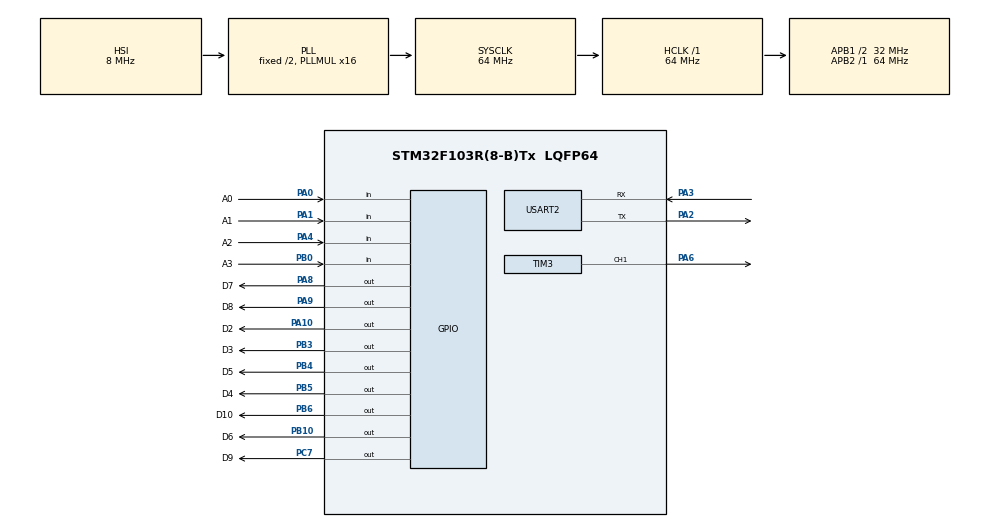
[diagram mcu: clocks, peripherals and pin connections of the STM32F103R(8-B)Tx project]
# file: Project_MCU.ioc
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Mcu.Family=STM32F1
Mcu.Name=STM32F103R(8-B)Tx
Mcu.Package=LQFP64
NVIC.PriorityGroup=NVIC_PRIORITYGROUP_4
NVIC.TIM2_IRQn=true\:0\:0\:false\:false\:true\:true\:true
NVIC.USART2_IRQn=true\:0\:0\:false\:false\:true\:true\:true
PA0-WKUP.GPIO_Label=A0
PA0-WKUP.GPIO_PuPd=GPIO_PULLUP
PA0-WKUP.Signal=GPIO_Input
PA1.GPIO_Label=A1
PA1.GPIO_PuPd=GPIO_PULLUP
PA1.Signal=GPIO_Input
PA10.GPIO_Label=D2
PA10.Signal=GPIO_Output
PA13.Mode=Serial_Wire
PA13.Signal=SYS_JTMS-SWDIO
PA14.Mode=Serial_Wire
PA14.Signal=SYS_JTCK-SWCLK
PA2.Mode=Asynchronous
PA2.Signal=USART2_TX
PA3.Mode=Asynchronous
PA3.Signal=USART2_RX
PA4.GPIO_Label=A2
PA4.GPIO_PuPd=GPIO_PULLUP
PA4.Signal=GPIO_Input
PA6.Signal=S_TIM3_CH1
PA8.GPIO_Label=D7
PA8.Signal=GPIO_Output
PA9.GPIO_Label=D8
PA9.Signal=GPIO_Output
PB0.GPIO_Label=A3
PB0.GPIO_PuPd=GPIO_PULLUP
PB0.Signal=GPIO_Input
PB10.GPIO_Label=D6
PB10.Signal=GPIO_Output
PB3.GPIO_Label=D3
PB3.Signal=GPIO_Output
PB4.GPIO_Label=D5
PB4.Signal=GPIO_Output
PB5.GPIO_Label=D4
PB5.Signal=GPIO_Output
PB6.GPIO_Label=D10
PB6.Signal=GPIO_Output
PC7.GPIO_Label=D9
PC7.Signal=GPIO_Output
ProjectManager.HeapSize=0x200
ProjectManager.StackSize=0x400
ProjectManager.TargetToolchain=STM32CubeIDE
RCC.AHBFreq_Value=64000000
RCC.APB1CLKDivider=RCC_HCLK_DIV2
RCC.APB1Freq_Value=32000000
RCC.APB1TimFreq_Value=64000000
RCC.APB2Freq_Value=64000000
RCC.APB2TimFreq_Value=64000000
RCC.HCLKFreq_Value=64000000
RCC.PLLMUL=RCC_PLL_MUL16
RCC.SYSCLKFreq_VALUE=64000000
RCC.SYSCLKSource=RCC_SYSCLKSOURCE_PLLCLK
RCC.USBFreq_Value=64000000
SH.S_TIM3_CH1.0=TIM3_CH1,PWM Generation1 CH1
TIM2.Period=999
TIM2.Prescaler=639
TIM3.Channel-PWM\ Generation1\ CH1=TIM_CHANNEL_1
TIM3.Period=99
TIM3.Prescaler=63
USART2.VirtualMode=VM_ASYNC
VP_TIM2_VS_ClockSourceINT.Mode=Internal
VP_TIM3_VS_ClockSourceINT.Mode=Internal
board=custom

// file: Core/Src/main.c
/* USER CODE BEGIN Header */
/**
  ******************************************************************************
  * @file           : main.c
  * @brief          : Main program body
  ******************************************************************************
  * @attention
  *
  * <h2><center>&copy; Copyright (c) 2023 STMicroelectronics.
  * All rights reserved.</center></h2>
  *
  * This software component is licensed by ST under BSD 3-Clause license,
  * the "License"; You may not use this file except in compliance with the
  * License. You may obtain a copy of the License at:
  *                        opensource.org/licenses/BSD-3-Clause
  *
  ******************************************************************************
  */
/* USER CODE END Header */
#include "main.h"
#include "tim.h"
#include "usart.h"
#include "gpio.h"

/* USER CODE BEGIN Includes */
#include "software_timer.h"
#include "traffic_light.h"
/* USER CODE END Includes */

/* USER CODE BEGIN PV */
uint8_t temp_start = 0;
/* USER CODE END PV */

void SystemClock_Config(void);
/* USER CODE BEGIN PFP */
void test_IO();
/* USER CODE END PFP */

int main(void)
{

  /* MCU Configuration--------------------------------------------------------*/

  /* Reset of all peripherals, Initializes the Flash interface and the Systick. */
  HAL_Init();

  /* Configure the system clock */
  SystemClock_Config();

  /* Initialize all configured peripherals */
  MX_GPIO_Init();
  MX_TIM2_Init();
  MX_TIM3_Init();
  MX_USART2_UART_Init();
  /* USER CODE BEGIN 2 */
  buzzer_init();
  HAL_TIM_Base_Start_IT(&htim2);
  HAL_UART_Receive_IT(&huart2, &temp_start, 1);
  /* USER CODE END 2 */

  /* Infinite loop */
  /* USER CODE BEGIN WHILE */
  setTimer1(100);
  setTimer2(50);
  setTimer3(30);
  while (1)
  {
//	  test_IO();
	  traffic_light();

    /* USER CODE END WHILE */

  }
}

void SystemClock_Config(void)
{
  RCC_OscInitTypeDef RCC_OscInitStruct = {0};
  RCC_ClkInitTypeDef RCC_ClkInitStruct = {0};

  /** Initializes the RCC Oscillators according to the specified parameters
  * in the RCC_OscInitTypeDef structure.
  */
  RCC_OscInitStruct.OscillatorType = RCC_OSCILLATORTYPE_HSI;
  RCC_OscInitStruct.HSIState = RCC_HSI_ON;
  RCC_OscInitStruct.HSICalibrationValue = RCC_HSICALIBRATION_DEFAULT;
  RCC_OscInitStruct.PLL.PLLState = RCC_PLL_ON;
  RCC_OscInitStruct.PLL.PLLSource = RCC_PLLSOURCE_HSI_DIV2;
  RCC_OscInitStruct.PLL.PLLMUL = RCC_PLL_MUL16;
  if (HAL_RCC_OscConfig(&RCC_OscInitStruct) != HAL_OK)
  {
    Error_Handler();
  }
  /** Initializes the CPU, AHB and APB buses clocks
  */
  RCC_ClkInitStruct.ClockType = RCC_CLOCKTYPE_HCLK|RCC_CLOCKTYPE_SYSCLK
                              |RCC_CLOCKTYPE_PCLK1|RCC_CLOCKTYPE_PCLK2;
  RCC_ClkInitStruct.SYSCLKSource = RCC_SYSCLKSOURCE_PLLCLK;
  RCC_ClkInitStruct.AHBCLKDivider = RCC_SYSCLK_DIV1;
  RCC_ClkInitStruct.APB1CLKDivider = RCC_HCLK_DIV2;
  RCC_ClkInitStruct.APB2CLKDivider = RCC_HCLK_DIV1;

  if (HAL_RCC_ClockConfig(&RCC_ClkInitStruct, FLASH_LATENCY_2) != HAL_OK)
  {
    Error_Handler();
  }
}

/* USER CODE BEGIN 4 */
void HAL_TIM_PeriodElapsedCallback(TIM_HandleTypeDef *htim){
	timerRun();
	getKeyInput();
}
void test_IO(){
	HAL_GPIO_WritePin(D2_GPIO_Port, D2_Pin, HAL_GPIO_ReadPin(A1_GPIO_Port, A1_Pin));
	HAL_GPIO_WritePin(D3_GPIO_Port, D3_Pin, HAL_GPIO_ReadPin(A2_GPIO_Port, A2_Pin));
	HAL_GPIO_WritePin(D4_GPIO_Port, D4_Pin, HAL_GPIO_ReadPin(A3_GPIO_Port, A3_Pin));
	if(HAL_GPIO_ReadPin(A0_GPIO_Port, A0_Pin)){
		buzzer_SetVolume(0);
	}
	else
		buzzer_SetVolume(99);
}
/* USER CODE END 4 */

void Error_Handler(void)
{
  __disable_irq();
  while (1)
  {
  }
}

/************************ (C) COPYRIGHT STMicroelectronics *****END OF FILE****/
